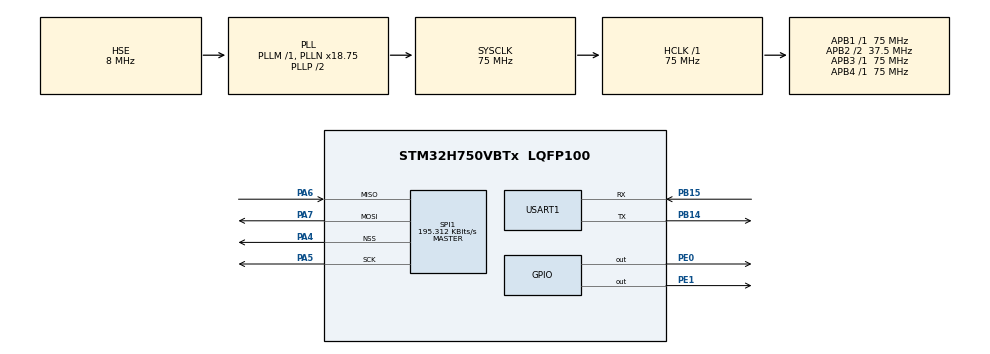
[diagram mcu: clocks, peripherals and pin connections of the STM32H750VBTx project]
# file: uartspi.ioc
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CORTEX_M7.default_mode_Activation=1
Dma.Request0=USART1_RX
Dma.Request1=USART1_TX
Dma.Request2=SPI1_TX
Dma.Request3=SPI1_RX
Dma.SPI1_RX.3.Direction=DMA_PERIPH_TO_MEMORY
Dma.SPI1_RX.3.EventEnable=DISABLE
Dma.SPI1_RX.3.FIFOMode=DMA_FIFOMODE_DISABLE
Dma.SPI1_RX.3.Instance=DMA1_Stream1
Dma.SPI1_RX.3.MemDataAlignment=DMA_MDATAALIGN_BYTE
Dma.SPI1_RX.3.MemInc=DMA_MINC_ENABLE
Dma.SPI1_RX.3.Mode=DMA_NORMAL
Dma.SPI1_RX.3.PeriphDataAlignment=DMA_PDATAALIGN_BYTE
Dma.SPI1_RX.3.PeriphInc=DMA_PINC_DISABLE
Dma.SPI1_RX.3.Polarity=HAL_DMAMUX_REQ_GEN_RISING
Dma.SPI1_RX.3.Priority=DMA_PRIORITY_LOW
Dma.SPI1_RX.3.RequestNumber=1
Dma.SPI1_RX.3.SignalID=NONE
Dma.SPI1_RX.3.SyncEnable=DISABLE
Dma.SPI1_RX.3.SyncPolarity=HAL_DMAMUX_SYNC_NO_EVENT
Dma.SPI1_RX.3.SyncRequestNumber=1
Dma.SPI1_RX.3.SyncSignalID=NONE
Dma.SPI1_TX.2.Direction=DMA_MEMORY_TO_PERIPH
Dma.SPI1_TX.2.EventEnable=DISABLE
Dma.SPI1_TX.2.FIFOMode=DMA_FIFOMODE_DISABLE
Dma.SPI1_TX.2.Instance=DMA1_Stream0
Dma.SPI1_TX.2.MemDataAlignment=DMA_MDATAALIGN_BYTE
Dma.SPI1_TX.2.MemInc=DMA_MINC_ENABLE
Dma.SPI1_TX.2.Mode=DMA_NORMAL
Dma.SPI1_TX.2.PeriphDataAlignment=DMA_PDATAALIGN_BYTE
Dma.SPI1_TX.2.PeriphInc=DMA_PINC_DISABLE
Dma.SPI1_TX.2.Polarity=HAL_DMAMUX_REQ_GEN_RISING
Dma.SPI1_TX.2.Priority=DMA_PRIORITY_LOW
Dma.SPI1_TX.2.RequestNumber=1
Dma.SPI1_TX.2.SignalID=NONE
Dma.SPI1_TX.2.SyncEnable=DISABLE
Dma.SPI1_TX.2.SyncPolarity=HAL_DMAMUX_SYNC_NO_EVENT
Dma.SPI1_TX.2.SyncRequestNumber=1
Dma.SPI1_TX.2.SyncSignalID=NONE
Dma.USART1_RX.0.Direction=DMA_PERIPH_TO_MEMORY
Dma.USART1_RX.0.EventEnable=DISABLE
Dma.USART1_RX.0.FIFOMode=DMA_FIFOMODE_DISABLE
Dma.USART1_RX.0.Instance=DMA1_Stream4
Dma.USART1_RX.0.MemDataAlignment=DMA_MDATAALIGN_BYTE
Dma.USART1_RX.0.MemInc=DMA_MINC_ENABLE
Dma.USART1_RX.0.Mode=DMA_NORMAL
Dma.USART1_RX.0.PeriphDataAlignment=DMA_PDATAALIGN_BYTE
Dma.USART1_RX.0.PeriphInc=DMA_PINC_DISABLE
Dma.USART1_RX.0.Polarity=HAL_DMAMUX_REQ_GEN_RISING
Dma.USART1_RX.0.Priority=DMA_PRIORITY_LOW
Dma.USART1_RX.0.RequestNumber=1
Dma.USART1_RX.0.SignalID=NONE
Dma.USART1_RX.0.SyncEnable=DISABLE
Dma.USART1_RX.0.SyncPolarity=HAL_DMAMUX_SYNC_NO_EVENT
Dma.USART1_RX.0.SyncRequestNumber=1
Dma.USART1_RX.0.SyncSignalID=NONE
Dma.USART1_TX.1.Direction=DMA_MEMORY_TO_PERIPH
Dma.USART1_TX.1.EventEnable=DISABLE
Dma.USART1_TX.1.FIFOMode=DMA_FIFOMODE_DISABLE
Dma.USART1_TX.1.Instance=DMA1_Stream5
Dma.USART1_TX.1.MemDataAlignment=DMA_MDATAALIGN_BYTE
Dma.USART1_TX.1.MemInc=DMA_MINC_ENABLE
Dma.USART1_TX.1.Mode=DMA_NORMAL
Dma.USART1_TX.1.PeriphDataAlignment=DMA_PDATAALIGN_BYTE
Dma.USART1_TX.1.PeriphInc=DMA_PINC_DISABLE
Dma.USART1_TX.1.Polarity=HAL_DMAMUX_REQ_GEN_RISING
Dma.USART1_TX.1.Priority=DMA_PRIORITY_LOW
Dma.USART1_TX.1.RequestNumber=1
Dma.USART1_TX.1.SignalID=NONE
Dma.USART1_TX.1.SyncEnable=DISABLE
Dma.USART1_TX.1.SyncPolarity=HAL_DMAMUX_SYNC_NO_EVENT
Dma.USART1_TX.1.SyncRequestNumber=1
Dma.USART1_TX.1.SyncSignalID=NONE
FREERTOS.Tasks01=defaultTask,24,128,StartDefaultTask,Default,NULL,Dynamic,NULL,NULL
FREERTOS.configUSE_NEWLIB_REENTRANT=1
Mcu.Family=STM32H7
Mcu.Name=STM32H750VBTx
Mcu.Package=LQFP100
NVIC.DMA1_Stream0_IRQn=true\:5\:0\:false\:false\:true\:true\:false\:true\:true
NVIC.DMA1_Stream1_IRQn=true\:5\:0\:false\:false\:true\:true\:false\:true\:true
NVIC.DMA1_Stream4_IRQn=true\:5\:0\:false\:false\:true\:true\:false\:true\:true
NVIC.DMA1_Stream5_IRQn=true\:5\:0\:false\:false\:true\:true\:false\:true\:true
NVIC.PriorityGroup=NVIC_PRIORITYGROUP_4
NVIC.SPI1_IRQn=true\:5\:0\:false\:false\:true\:true\:false\:true\:true
NVIC.TIM2_IRQn=true\:15\:0\:false\:false\:true\:false\:false\:true\:true
NVIC.TimeBase=TIM2_IRQn
NVIC.TimeBaseIP=TIM2
NVIC.USART1_IRQn=true\:5\:0\:false\:false\:true\:true\:true\:true\:true
PA13\ (JTMS/SWDIO).Mode=Serial_Wire
PA13\ (JTMS/SWDIO).Signal=DEBUG_JTMS-SWDIO
PA14\ (JTCK/SWCLK).Mode=Serial_Wire
PA14\ (JTCK/SWCLK).Signal=DEBUG_JTCK-SWCLK
PA4.Mode=NSS_Signal_Hard_Output
PA4.Signal=SPI1_NSS
PA5.Mode=Full_Duplex_Master
PA5.Signal=SPI1_SCK
PA6.Mode=Full_Duplex_Master
PA6.Signal=SPI1_MISO
PA7.Mode=Full_Duplex_Master
PA7.Signal=SPI1_MOSI
PB14.Mode=Asynchronous
PB14.Signal=USART1_TX
PB15.Mode=Asynchronous
PB15.Signal=USART1_RX
PC14-OSC32_IN\ (OSC32_IN).Mode=LSE-External-Oscillator
PC14-OSC32_IN\ (OSC32_IN).Signal=RCC_OSC32_IN
PC15-OSC32_OUT\ (OSC32_OUT).Mode=LSE-External-Oscillator
PC15-OSC32_OUT\ (OSC32_OUT).Signal=RCC_OSC32_OUT
PE0.Signal=GPIO_Output
PE1.Signal=GPIO_Output
PH0-OSC_IN\ (PH0).Mode=HSE-External-Oscillator
PH0-OSC_IN\ (PH0).Signal=RCC_OSC_IN
PH1-OSC_OUT\ (PH1).Mode=HSE-External-Oscillator
PH1-OSC_OUT\ (PH1).Signal=RCC_OSC_OUT
ProjectManager.HeapSize=0x200
ProjectManager.StackSize=0x400
ProjectManager.TargetToolchain=STM32CubeIDE
RCC.ADCFreq_Value=16125000
RCC.APB1Freq_Value=75000000
RCC.APB2Freq_Value=37500000
RCC.APB3Freq_Value=75000000
RCC.APB4Freq_Value=75000000
RCC.CortexFreq_Value=75000000
RCC.D2PPRE2=RCC_APB2_DIV2
RCC.DIVM1=1
RCC.DIVN1=18
RCC.DIVQ1=3
RCC.HCLKFreq_Value=75000000
RCC.HSE_VALUE=8000000
RCC.PLL1_VCI_Range=RCC_PLL1VCIRANGE_3
RCC.PLL2FRACN=0
RCC.PLL3FRACN=0
RCC.PLLFRACN=6144
RCC.PLLSourceVirtual=RCC_PLLSOURCE_HSE
RCC.SYSCLKFreq_VALUE=75000000
RCC.SYSCLKSource=RCC_SYSCLKSOURCE_PLLCLK
RCC.USBFreq_Value=50000000
SPI1.BaudRatePrescaler=SPI_BAUDRATEPRESCALER_256
SPI1.CalculateBaudRate=195.312 KBits/s
SPI1.DataSize=SPI_DATASIZE_8BIT
SPI1.Direction=SPI_DIRECTION_2LINES
SPI1.MasterKeepIOState=SPI_MASTER_KEEP_IO_STATE_ENABLE
SPI1.Mode=SPI_MODE_MASTER
SPI1.NSSPMode=SPI_NSS_PULSE_ENABLE
SPI1.NSSPolarity=SPI_NSS_POLARITY_LOW
SPI1.VirtualNSS=VM_NSSHARD
SPI1.VirtualType=VM_MASTER
USART1.DMADisableonRxErrorParam=ADVFEATURE_DMA_DISABLEONRXERROR
USART1.VirtualMode-Asynchronous=VM_ASYNC
VP_FREERTOS_VS_CMSIS_V2.Mode=CMSIS_V2
VP_SYS_VS_tim2.Mode=TIM2
board=custom

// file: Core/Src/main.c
/* USER CODE BEGIN Header */
/**
  ******************************************************************************
  * @file           : main.c
  * @brief          : Main program body
  ******************************************************************************
  * @attention
  *
  * Copyright (c) 2024 STMicroelectronics.
  * All rights reserved.
  *
  * This software is licensed under terms that can be found in the LICENSE file
  * in the root directory of this software component.
  * If no LICENSE file comes with this software, it is provided AS-IS.
  *
  ******************************************************************************
  */
/* USER CODE END Header */
#include "main.h"
#include "cmsis_os.h"

/* USER CODE BEGIN Includes */
#include "queue.h"
/* USER CODE END Includes */

/* USER CODE BEGIN PD */
#define ToSPIBufL 500    //Длина буфера для отправки по SPI
#define SPITxRxBufL 16   //Длина буфера SPI для чтения и записи
#define ToUARTBufL 500   //Длина буфера для отправки по UART

/* USER CODE END PD */

SPI_HandleTypeDef hspi1;
DMA_HandleTypeDef hdma_spi1_tx;
DMA_HandleTypeDef hdma_spi1_rx;

UART_HandleTypeDef huart1;
DMA_HandleTypeDef hdma_usart1_rx;
DMA_HandleTypeDef hdma_usart1_tx;

/* Definitions for defaultTask */
osThreadId_t defaultTaskHandle;
const osThreadAttr_t defaultTask_attributes = {
  .name = "defaultTask",
  .stack_size = 128 * 4,
  .priority = (osPriority_t) osPriorityNormal,
};
/* USER CODE BEGIN PV */
/* Задача SPI */
osThreadId_t SPITaskHandle;
const osThreadAttr_t SPITask_attributes = {
  .name = "SPITask",
  .stack_size = 128 * 4,
  .priority = (osPriority_t) osPriorityNormal,
};
uint8_t ToSPIBuf[ToSPIBufL+1]; //Буфер кольцевой для хранения данных, отправляемых
//по SPI. Формат:16бит длина фрейма, далее сам фрейм. +1 - если длина попала в последний байт буфера, "рвать" ее не будем
uint16_t *pToSPI; //указатель на длину фрейма в буфере при заполнении буфера
uint16_t *pQRSPI; //указатель на длину фрейма в буфере при отправке по SPI
//это также указатель на фрейм, извлекаемый из очереди на отправку
uint16_t ToSPIPos;//указатель на текущую позицию при заполнении кольцевого буфера
uint8_t SPIRxBuf[SPITxRxBufL]; //обычный буфер для однократного чтения SPI
uint8_t SPITxBuf[SPITxRxBufL]; //-/- записи
uint16_t SPITxPos; // из этой позиции в кольцевом данные будут передаваться в SPITxBuf
uint16_t SPITxTail; // количество оставшихся байт отправляемого по SPI фрейма
xQueueHandle SPIQueue=0;
/* Задача UART */
osThreadId_t UARTTaskHandle;
const osThreadAttr_t UARTTask_attributes = {
  .name = "UARTTask",
  .stack_size = 128 * 4,
  .priority = (osPriority_t) osPriorityNormal,
};
uint8_t ToUARTBuf[ToUARTBufL+2]; // Кольцевой буфер, каки SPI, только еще используется
//один байт за неразрываемой длиной фрейма
uint16_t *pToUART;
uint16_t *pQRUART;
uint16_t ToUARTPos;
uint8_t UARTTxDone=1; // флаг завершения передачи. В SPI в качестве такого флага испольуется SPITxTail
//xSemaphoreHandle UARTMutex ;
xQueueHandle UARTQueue=0;
/* USER CODE END PV */

void SystemClock_Config(void);
static void MPU_Config(void);
static void MX_GPIO_Init(void);
static void MX_DMA_Init(void);
static void MX_SPI1_Init(void);
static void MX_USART1_UART_Init(void);
void StartDefaultTask(void *argument);

/* USER CODE BEGIN 0 */
void HAL_UART_TxCpltCallback(UART_HandleTypeDef *huart)
{
  UARTTxDone=1;  // завершение отправки по UART. Если нужен завершающий 0, можно дослать его отсюда
}
void HAL_UART_RxCpltCallback(UART_HandleTypeDef *huart)
{
// зацикленный поток - прием байта по UART
      if (ToSPIBuf[ToSPIPos])
      {//если принятый байт ненулевой (не конец фрейма)
         ToSPIPos++; if (ToSPIPos>=ToSPIBufL) ToSPIPos=0;//перемещаемся к следующему байту в кольцевом буфере
         (*pToSPI)++;//увеличиваем длину текущего фрейма
      } else if (*pToSPI)
        {//иначе (принят 0) если до этого приняли данные
           xQueueSendFromISR(SPIQueue, (void*)&pToSPI, 0);//помещаем в очередь указатель на количество принятых байт данных
           pToSPI=(uint16_t*)&ToSPIBuf[ToSPIPos];//начало нового фрейма. Даже если до конца буфера один байт - длину не разрываем
           ToSPIPos+=2; if (ToSPIPos>=ToSPIBufL) ToSPIPos=0;//можно сразу на 2 сместить указатель на данные, так как неразорванный буфер в конце буфера
           *pToSPI=0;//начинаем подсчет длины нового фрейма
        }
      HAL_UART_Receive_DMA(&huart1,&ToSPIBuf[ToSPIPos],1);//принимаем дальше
}

void HAL_SPI_TxRxCpltCallback(SPI_HandleTypeDef *hspi)
{
//  HAL_GPIO_WritePin(GPIOA, GPIO_PIN_4, GPIO_PIN_SET);//для "программного" NSS
  //это зацикленный прием/передача буферов SPI
  for (uint8_t i=0; i<SPITxRxBufL;i++)
  {//перебираем все принятые байты
    if (*pToUART&&!SPIRxBuf[i])
    {//если ранее принимали фрейм - есть длина, но пришел 0
      xQueueSendFromISR(UARTQueue, (void*)&pToUART, 0);//отправляем фрейм в очередь
      pToUART=(uint16_t*)&ToUARTBuf[ToUARTPos];//перемещаем в буфере начало следующего фрейма, если 2 байта длины в конце буфера - не разрываем
      *pToUART=0;//сначала длина нового фрейма 0
      ToUARTPos+=2; if (ToUARTPos>=ToUARTBufL) ToUARTPos=0;//двубайтная длина буфера не разорвана, старшие разряды в "запасном" байте в конце буфера, данные в начале

    } else if (SPIRxBuf[i])
      {//не важно, первый или последующий байт фрейма
        ToUARTBuf[ToUARTPos]=SPIRxBuf[i];//- просто складываем его в буфер, перемещая позицию
        (*pToUART)++;//и учитывая длину
        ToUARTPos++; if (ToUARTPos>=ToUARTBufL) ToUARTPos=0; //не забываем проверить, не в конце ли мы кольца
      } //разобрали принятое
    if (SPITxTail)
    {//если отправляем фрейм
       SPITxBuf[i]=ToSPIBuf[SPITxPos];//переносим данные из кольцевого буфера в буфер отправки SPI
       SPITxPos++; if (SPITxPos>=ToSPIBufL) SPITxPos=0;// если отправляемая позиция - конец кольца, продолжим отправку из начала кольца
       SPITxTail--;//1байт перенесли - остаток уменьшили
    } else SPITxBuf[i]=0;//нечего отправлять - отправим 0 (он же и конец фрейма)
  }
  //HAL_GPIO_WritePin(GPIOA, GPIO_PIN_4, GPIO_PIN_RESET);
  HAL_SPI_TransmitReceive_DMA(&hspi1,SPITxBuf,SPIRxBuf,SPITxRxBufL);//зацикливаем прием/передачу SPI
}

void StartSPITask(void *argument)
{
  pToUART=(uint16_t*)&ToUARTBuf[0];//указатель с длиной фрейма - в начале буфера
  *pToUART=0;//пока данных нет
  ToUARTPos=2;//данные пойдут сюда
  //HAL_GPIO_WritePin(GPIOA, GPIO_PIN_4, GPIO_PIN_RESET);//"программный NSS"
  HAL_SPI_TransmitReceive_DMA(&hspi1,SPITxBuf,SPIRxBuf,SPITxRxBufL);// запускаем прием/передачу SPI
  for(;;)
  {
     if(SPIQueue&&!SPITxTail)
     {//если есть очередь и ничего не передаем
        if(xQueueReceive(SPIQueue, &(pQRSPI), 100/portTICK_RATE_MS)==pdTRUE)
        {//приняли указатель на фрейм
           SPITxTail=*pQRSPI;//остаток перед передачей - длина фрейма
           SPITxPos+=2; //"пропускаем длину"
           HAL_GPIO_WritePin(GPIOE,GPIO_PIN_0,GPIO_PIN_RESET);//зажигаем лампочку
        }
     } else osDelay(10);
  }
}

void StartUARTTask(void *argument)
{
  pToSPI=(uint16_t*)&ToSPIBuf[0];
  ToSPIPos=2;
  *pToSPI=0;
  HAL_UART_Receive_DMA(&huart1,&ToSPIBuf[ToSPIPos],1);
  for(;;)
  {
     if(UARTQueue&&UARTTxDone)
     {//если и очередь есть и данные переданы
        if(xQueueReceive(UARTQueue, &(pQRUART), 100/portTICK_RATE_MS)==pdTRUE)
        {
           UARTTxDone=0;//снимаем флаг готовности к передаче
           HAL_UART_Transmit_DMA(&huart1,(uint8_t*)(pQRUART+1),*pQRUART);//передача по UARTю Как насчет "0" в конце?
           HAL_GPIO_WritePin(GPIOE,GPIO_PIN_1,GPIO_PIN_RESET);//зажигаем индикатор очереди UART
        }
     } else osDelay(10);
  }
}

/* USER CODE END 0 */

int main(void)
{

  /* MPU Configuration--------------------------------------------------------*/
  MPU_Config();

  /* MCU Configuration--------------------------------------------------------*/

  /* Reset of all peripherals, Initializes the Flash interface and the Systick. */
  HAL_Init();

  /* Configure the system clock */
  SystemClock_Config();

  /* Initialize all configured peripherals */
  MX_GPIO_Init();
  MX_DMA_Init();
  MX_SPI1_Init();
  MX_USART1_UART_Init();
  /* USER CODE BEGIN 2 */
  //HAL_GPIO_WritePin(GPIOA, GPIO_PIN_4, GPIO_PIN_SET);
  /* USER CODE END 2 */

  /* Init scheduler */
  osKernelInitialize();

  /* USER CODE BEGIN RTOS_MUTEX */
  /* add mutexes, ... */
  //SPIMutex=xSemaphoreCreateRecursiveMutex();
  /* USER CODE END RTOS_MUTEX */

  /* USER CODE BEGIN RTOS_SEMAPHORES */
  /* add semaphores, ... */

// portTickType xLastWakeTime;

  /* USER CODE END RTOS_SEMAPHORES */

  /* USER CODE BEGIN RTOS_QUEUES */
  /* add queues, ... */
   SPIQueue=xQueueCreate(10,sizeof(pToSPI));//Это две наши очереди
   UARTQueue=xQueueCreate(10,sizeof(pToUART));
  /* USER CODE END RTOS_QUEUES */

  /* Create the thread(s) */
  /* creation of defaultTask */
  defaultTaskHandle = osThreadNew(StartDefaultTask, NULL, &defaultTask_attributes);

  /* USER CODE BEGIN RTOS_THREADS */
  /* add threads, ... */
  SPITaskHandle = osThreadNew(StartSPITask, NULL, &SPITask_attributes);//А это два потока
  UARTTaskHandle = osThreadNew(StartUARTTask, NULL, &UARTTask_attributes);
  /* USER CODE END RTOS_THREADS */

  /* Start scheduler */
  osKernelStart();

  /* We should never get here as control is now taken by the scheduler */
  /* Infinite loop */
  while (1)
  {

  }
}

void SystemClock_Config(void)
{
  RCC_OscInitTypeDef RCC_OscInitStruct = {0};
  RCC_ClkInitTypeDef RCC_ClkInitStruct = {0};

  /** Supply configuration update enable
  */
  HAL_PWREx_ConfigSupply(PWR_LDO_SUPPLY);

  /** Configure the main internal regulator output voltage
  */
  __HAL_PWR_VOLTAGESCALING_CONFIG(PWR_REGULATOR_VOLTAGE_SCALE3);

  while(!__HAL_PWR_GET_FLAG(PWR_FLAG_VOSRDY)) {}

  /** Initializes the RCC Oscillators according to the specified parameters
  * in the RCC_OscInitTypeDef structure.
  */
  RCC_OscInitStruct.OscillatorType = RCC_OSCILLATORTYPE_HSE;
  RCC_OscInitStruct.HSEState = RCC_HSE_ON;
  RCC_OscInitStruct.PLL.PLLState = RCC_PLL_ON;
  RCC_OscInitStruct.PLL.PLLSource = RCC_PLLSOURCE_HSE;
  RCC_OscInitStruct.PLL.PLLM = 1;
  RCC_OscInitStruct.PLL.PLLN = 18;
  RCC_OscInitStruct.PLL.PLLP = 2;
  RCC_OscInitStruct.PLL.PLLQ = 3;
  RCC_OscInitStruct.PLL.PLLR = 2;
  RCC_OscInitStruct.PLL.PLLRGE = RCC_PLL1VCIRANGE_3;
  RCC_OscInitStruct.PLL.PLLVCOSEL = RCC_PLL1VCOMEDIUM;
  RCC_OscInitStruct.PLL.PLLFRACN = 6144;
  if (HAL_RCC_OscConfig(&RCC_OscInitStruct) != HAL_OK)
  {
    Error_Handler();
  }

  /** Initializes the CPU, AHB and APB buses clocks
  */
  RCC_ClkInitStruct.ClockType = RCC_CLOCKTYPE_HCLK|RCC_CLOCKTYPE_SYSCLK
                              |RCC_CLOCKTYPE_PCLK1|RCC_CLOCKTYPE_PCLK2
                              |RCC_CLOCKTYPE_D3PCLK1|RCC_CLOCKTYPE_D1PCLK1;
  RCC_ClkInitStruct.SYSCLKSource = RCC_SYSCLKSOURCE_PLLCLK;
  RCC_ClkInitStruct.SYSCLKDivider = RCC_SYSCLK_DIV1;
  RCC_ClkInitStruct.AHBCLKDivider = RCC_HCLK_DIV1;
  RCC_ClkInitStruct.APB3CLKDivider = RCC_APB3_DIV1;
  RCC_ClkInitStruct.APB1CLKDivider = RCC_APB1_DIV1;
  RCC_ClkInitStruct.APB2CLKDivider = RCC_APB2_DIV2;
  RCC_ClkInitStruct.APB4CLKDivider = RCC_APB4_DIV1;

  if (HAL_RCC_ClockConfig(&RCC_ClkInitStruct, FLASH_LATENCY_1) != HAL_OK)
  {
    Error_Handler();
  }
}

static void MX_SPI1_Init(void)
{

  /* SPI1 parameter configuration*/
  hspi1.Instance = SPI1;
  hspi1.Init.Mode = SPI_MODE_MASTER;
  hspi1.Init.Direction = SPI_DIRECTION_2LINES;
  hspi1.Init.DataSize = SPI_DATASIZE_8BIT;
  hspi1.Init.CLKPolarity = SPI_POLARITY_LOW;
  hspi1.Init.CLKPhase = SPI_PHASE_1EDGE;
  hspi1.Init.NSS = SPI_NSS_HARD_OUTPUT;
  hspi1.Init.BaudRatePrescaler = SPI_BAUDRATEPRESCALER_256;
  hspi1.Init.FirstBit = SPI_FIRSTBIT_MSB;
  hspi1.Init.TIMode = SPI_TIMODE_DISABLE;
  hspi1.Init.CRCCalculation = SPI_CRCCALCULATION_DISABLE;
  hspi1.Init.CRCPolynomial = 0x0;
  hspi1.Init.NSSPMode = SPI_NSS_PULSE_ENABLE;
  hspi1.Init.NSSPolarity = SPI_NSS_POLARITY_LOW;
  hspi1.Init.FifoThreshold = SPI_FIFO_THRESHOLD_01DATA;
  hspi1.Init.TxCRCInitializationPattern = SPI_CRC_INITIALIZATION_ALL_ZERO_PATTERN;
  hspi1.Init.RxCRCInitializationPattern = SPI_CRC_INITIALIZATION_ALL_ZERO_PATTERN;
  hspi1.Init.MasterSSIdleness = SPI_MASTER_SS_IDLENESS_00CYCLE;
  hspi1.Init.MasterInterDataIdleness = SPI_MASTER_INTERDATA_IDLENESS_00CYCLE;
  hspi1.Init.MasterReceiverAutoSusp = SPI_MASTER_RX_AUTOSUSP_DISABLE;
  hspi1.Init.MasterKeepIOState = SPI_MASTER_KEEP_IO_STATE_ENABLE;
  hspi1.Init.IOSwap = SPI_IO_SWAP_DISABLE;
  if (HAL_SPI_Init(&hspi1) != HAL_OK)
  {
    Error_Handler();
  }

}

static void MX_USART1_UART_Init(void)
{

  huart1.Instance = USART1;
  huart1.Init.BaudRate = 115200;
  huart1.Init.WordLength = UART_WORDLENGTH_8B;
  huart1.Init.StopBits = UART_STOPBITS_1;
  huart1.Init.Parity = UART_PARITY_NONE;
  huart1.Init.Mode = UART_MODE_TX_RX;
  huart1.Init.HwFlowCtl = UART_HWCONTROL_NONE;
  huart1.Init.OverSampling = UART_OVERSAMPLING_16;
  huart1.Init.OneBitSampling = UART_ONE_BIT_SAMPLE_DISABLE;
  huart1.Init.ClockPrescaler = UART_PRESCALER_DIV1;
  huart1.AdvancedInit.AdvFeatureInit = UART_ADVFEATURE_DMADISABLEONERROR_INIT;
  huart1.AdvancedInit.DMADisableonRxError = UART_ADVFEATURE_DMA_DISABLEONRXERROR;
  if (HAL_UART_Init(&huart1) != HAL_OK)
  {
    Error_Handler();
  }
  if (HAL_UARTEx_SetTxFifoThreshold(&huart1, UART_TXFIFO_THRESHOLD_1_8) != HAL_OK)
  {
    Error_Handler();
  }
  if (HAL_UARTEx_SetRxFifoThreshold(&huart1, UART_RXFIFO_THRESHOLD_1_8) != HAL_OK)
  {
    Error_Handler();
  }
  if (HAL_UARTEx_DisableFifoMode(&huart1) != HAL_OK)
  {
    Error_Handler();
  }

}

static void MX_DMA_Init(void)
{

  /* DMA controller clock enable */
  __HAL_RCC_DMA1_CLK_ENABLE();

  /* DMA interrupt init */
  /* DMA1_Stream0_IRQn interrupt configuration */
  HAL_NVIC_SetPriority(DMA1_Stream0_IRQn, 5, 0);
  HAL_NVIC_EnableIRQ(DMA1_Stream0_IRQn);
  /* DMA1_Stream1_IRQn interrupt configuration */
  HAL_NVIC_SetPriority(DMA1_Stream1_IRQn, 5, 0);
  HAL_NVIC_EnableIRQ(DMA1_Stream1_IRQn);
  /* DMA1_Stream4_IRQn interrupt configuration */
  HAL_NVIC_SetPriority(DMA1_Stream4_IRQn, 5, 0);
  HAL_NVIC_EnableIRQ(DMA1_Stream4_IRQn);
  /* DMA1_Stream5_IRQn interrupt configuration */
  HAL_NVIC_SetPriority(DMA1_Stream5_IRQn, 5, 0);
  HAL_NVIC_EnableIRQ(DMA1_Stream5_IRQn);

}

static void MX_GPIO_Init(void)
{
  GPIO_InitTypeDef GPIO_InitStruct = {0};

  /* GPIO Ports Clock Enable */
  __HAL_RCC_GPIOC_CLK_ENABLE();
  __HAL_RCC_GPIOH_CLK_ENABLE();
  __HAL_RCC_GPIOA_CLK_ENABLE();
  __HAL_RCC_GPIOB_CLK_ENABLE();
  __HAL_RCC_GPIOE_CLK_ENABLE();

  /*Configure GPIO pin Output Level */
  HAL_GPIO_WritePin(GPIOE, GPIO_PIN_0|GPIO_PIN_1, GPIO_PIN_RESET);

  /*Configure GPIO pins : PE0 PE1 */
  GPIO_InitStruct.Pin = GPIO_PIN_0|GPIO_PIN_1;
  GPIO_InitStruct.Mode = GPIO_MODE_OUTPUT_PP;
  GPIO_InitStruct.Pull = GPIO_NOPULL;
  GPIO_InitStruct.Speed = GPIO_SPEED_FREQ_LOW;
  HAL_GPIO_Init(GPIOE, &GPIO_InitStruct);

}

void StartDefaultTask(void *argument)
{
  /* USER CODE BEGIN 5 */
  /* Infinite loop */
  for(;;)
  {
    osDelay(500);//здесь можно организовать счетчик времени, загрузки процессора, проверки и т.д.
    HAL_GPIO_WritePin(GPIOE,GPIO_PIN_0,GPIO_PIN_SET);//выключили
    HAL_GPIO_WritePin(GPIOE,GPIO_PIN_1,GPIO_PIN_SET);//выключили индикаторы
  }
  /* USER CODE END 5 */
}

/* MPU Configuration */

void MPU_Config(void)
{
  MPU_Region_InitTypeDef MPU_InitStruct = {0};

  /* Disables the MPU */
  HAL_MPU_Disable();

  /** Initializes and configures the Region and the memory to be protected
  */
  MPU_InitStruct.Enable = MPU_REGION_ENABLE;
  MPU_InitStruct.Number = MPU_REGION_NUMBER0;
  MPU_InitStruct.BaseAddress = 0x0;
  MPU_InitStruct.Size = MPU_REGION_SIZE_4GB;
  MPU_InitStruct.SubRegionDisable = 0x87;
  MPU_InitStruct.TypeExtField = MPU_TEX_LEVEL0;
  MPU_InitStruct.AccessPermission = MPU_REGION_NO_ACCESS;
  MPU_InitStruct.DisableExec = MPU_INSTRUCTION_ACCESS_DISABLE;
  MPU_InitStruct.IsShareable = MPU_ACCESS_SHAREABLE;
  MPU_InitStruct.IsCacheable = MPU_ACCESS_NOT_CACHEABLE;
  MPU_InitStruct.IsBufferable = MPU_ACCESS_NOT_BUFFERABLE;

  HAL_MPU_ConfigRegion(&MPU_InitStruct);
  /* Enables the MPU */
  HAL_MPU_Enable(MPU_PRIVILEGED_DEFAULT);

}

void HAL_TIM_PeriodElapsedCallback(TIM_HandleTypeDef *htim)
{
  if (htim->Instance == TIM2) {
    HAL_IncTick();
  }
}

void Error_Handler(void)
{
  __disable_irq();
  while (1)
  {
  }
}
